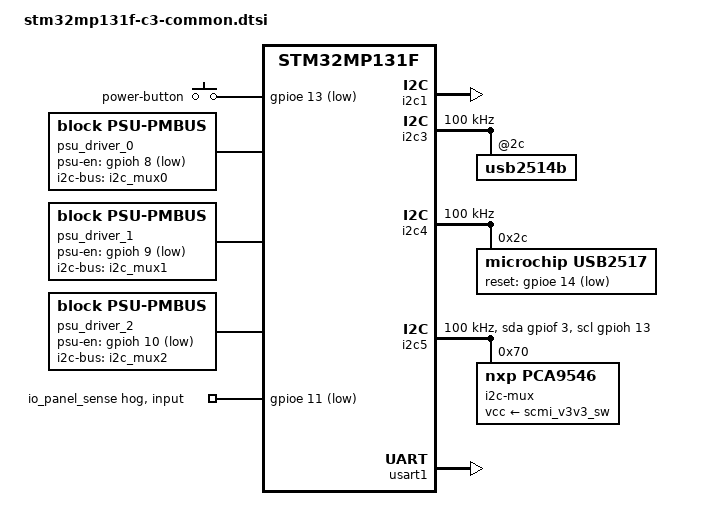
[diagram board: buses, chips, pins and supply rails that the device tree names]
/* SPDX-License-Identifier: (GPL-2.0+ OR BSD-3-Clause) */
/*
* Copyright (C) STMicroelectronics 2024 - All Rights Reserved
* Author: STM32CubeMX code generation for STMicroelectronics.
*/

/dts-v1/;
#include "stm32mp131f-cx.dtsi"
#include "stm32mp131f-c3-pinctrl.dtsi"
#include "stm32mp131f-cx-thermal-sensor.dtsi"

/ {
    config {
        u-boot,io-rgb-fdt = "stm32mp131f-c3p1-io-rgb.dtb";
    };

    aliases {
        ethernet0 = &eth1;
        serial0 = &uart4;
        serial1 = &usart1;
        serial2 = &uart8;
        serial3 = &usart2;
        i2c1 = &i2c1;   /* IO Panel I2C */
        i2c2 = &i2c2;   /* PMIC I2C */
        i2c3 = &i2c3;   /* USB 4-Port Hub I2C */
        i2c4 = &i2c4;   /* USB 7-Port Hub I2C */
        i2c5 = &i2c5;   /* PSU I2C MUX */
        spi5 = &spi5;   /* IO Panel LED Driver SPI */
    };

    power-button {
        status = "okay";
        compatible = "gpio-keys";
        #address-cells = <1>;
        #size-cells = <0>;
        autorepeat;

        power-button {
            label = "power-button";
            linux,code = <KEY_POWER>;
            gpios = <&gpioe 13 GPIO_ACTIVE_LOW>;
            interrupt-parent = <&gpioe>;
            interrupts = <13 IRQ_TYPE_EDGE_FALLING>;
        };
    };

    factory-reset-button {
        status = "disabled";
    };

    config {
        proto,io_board_id = <&gpiog 11 GPIO_PULL_DOWN>;
    };

    psu_driver_0: psu-pmbus-0 {
        compatible = "block,psu-pmbus";
        // Maps to physical slot / bay 1
        psu-id = <1>;
        status = "okay";
        i2c-bus = <&i2c_mux0>;
        probe-addresses = /bits/ 8 <0x08 0x10 0x58>;
        initial-voltage-mv = <15500>;
        update-interval-ms = <1000>;
        status-check-interval-ms = <250>;
        disconnect-threshold = <5>;
        reconnect-poll-interval-ms = <5000>;
        psu-en-gpio = <&gpioh 8 GPIO_ACTIVE_LOW>;
    };

    psu_driver_1: psu-pmbus-1 {
        compatible = "block,psu-pmbus";
        // Maps to physical slot / bay 2
        psu-id = <2>;
        status = "okay";
        i2c-bus = <&i2c_mux1>;
        probe-addresses = /bits/ 8 <0x08 0x10 0x58>;
        initial-voltage-mv = <15500>;
        update-interval-ms = <1000>;
        status-check-interval-ms = <250>;
        disconnect-threshold = <5>;
        reconnect-poll-interval-ms = <5000>;
        psu-en-gpio = <&gpioh 9 GPIO_ACTIVE_LOW>;
    };

    psu_driver_2: psu-pmbus-2 {
        compatible = "block,psu-pmbus";
        // Maps to physical slot / bay 3
        psu-id = <3>;
        status = "okay";
        i2c-bus = <&i2c_mux2>;
        probe-addresses = /bits/ 8 <0x08 0x10 0x58>;
        initial-voltage-mv = <15500>;
        update-interval-ms = <1000>;
        status-check-interval-ms = <250>;
        disconnect-threshold = <5>;
        reconnect-poll-interval-ms = <5000>;
        psu-en-gpio = <&gpioh 10 GPIO_ACTIVE_LOW>;
    };
};

&eth1 {
    max-speed = <100>;
};

&gpioe {
    hog_e11: gpio-hog-e11 {
        gpio-hog;
        gpios = <11 GPIO_ACTIVE_LOW>;
        input;
        line-name = "io_panel_sense";
        bias-pull-down;
    };
};

/* Board-specific I2C configurations */

/* PSU_EN_N - PSU enable */
/* Enable the below when bringup is completed. EE will need to manually toggle these pins */
/*
&gpioh {
    hog_h8: gpio-hog-h8 {
        gpio-hog;
        gpios = <8 GPIO_ACTIVE_LOW>;
        output-high;
        line-name = "psu1_en_n";
    };

    hog_h9: gpio-hog-h9 {
        gpio-hog;
        gpios = <9 GPIO_ACTIVE_LOW>;
        output-high;
        line-name = "psu2_en_n";
    };

    hog_h10: gpio-hog-h10 {
        gpio-hog;
        gpios = <10 GPIO_ACTIVE_LOW>;
        output-high;
        line-name = "psu3_en_n";
    };
};
*/

/* IO Panel I2C */
&i2c1 {
    pinctrl-names = "default", "sleep";
    pinctrl-0 = <&i2c1_pins_mx>;
    pinctrl-1 = <&i2c1_sleep_pins_mx>;
    status = "okay";
};

/* USB 4-Port Hub I2C - Override product name and serial only */
&i2c3 {
    pinctrl-names = "default", "sleep";
    pinctrl-0 = <&i2c3_pins_mx>;
    pinctrl-1 = <&i2c3_sleep_pins_mx>;
    status = "okay";
    clock-frequency = <100000>;

    usb2514b@2c {
        product = "C3";
        serial = "1234567890A";
    };
};

/* USB 7-Port Hub I2C */
&i2c4 {
    pinctrl-names = "default", "sleep";
    pinctrl-0 = <&i2c4_pins_mx>;
    pinctrl-1 = <&i2c4_sleep_pins_mx>;
    status = "okay";
    clock-frequency = <100000>;

    usb2517: usb2517@2c {
        compatible = "microchip,usb2517";
        reg = <0x2c>;
        vendor-id = /bits/ 16 <0x0000>;
        product-id = /bits/ 16 <0x0000>;
        string-support;
        manufacturer = "Block Inc";
        product = "C3";
        reset-gpios = <&gpioe 14 GPIO_ACTIVE_LOW>; /* USB7_RST_N */
        /* Power supplied by always-on LDO1_3V3 from STPMIC1 */
        sp-disabled-ports = <7>; /* Self-powered port disable - 0b01000000 (bit 6 for port 7) */
        bp-disabled-ports = <7>; /* Bus-powered port disable - 0b01000000 (bit 6 for port 7) */
    };
};

/* PSU I2C5 */
&i2c5 {
    pinctrl-names = "default", "sleep", "gpio";
    pinctrl-0 = <&i2c5_pins_mx>;
    pinctrl-1 = <&i2c5_sleep_pins_mx>;
    pinctrl-2 = <&i2c5_pins_gpio>;  /* GPIO mode for bus recovery */
    status = "okay";
        clock-frequency = <100000>;

    /* GPIO-based bus recovery - allows driver to toggle SCL/SDA as GPIOs to recover stuck bus */
    scl-gpios = <&gpioh 13 (GPIO_ACTIVE_HIGH | GPIO_OPEN_DRAIN)>;
    sda-gpios = <&gpiof 3 (GPIO_ACTIVE_HIGH | GPIO_OPEN_DRAIN)>;

    i2c-mux@70 {
        compatible = "nxp,pca9546";
        /* The I2C Address is (0x70 + (A2<<4) + (A1<<2) + (A0<<1)), where A2, A1 and A0 are 1/0 */
        /* On this board, the I2C address is 0x70, where A1, A2, A0 are all tied to ground */
        reg = <0x70>;
        #address-cells = <1>;
        #size-cells = <0>;
        vcc-supply = <&scmi_v3v3_sw>;    // Add this line, assuming v3v3_sw is your 3.3V rail
        status = "okay";

        i2c_mux0: i2c@0 {
            #address-cells = <1>;
            #size-cells = <0>;
            reg = <0>;
            label = "i2c_mux0";     /* This will show up as /dev/i2c-mux0 */
        };

        i2c_mux1: i2c@1 {
            #address-cells = <1>;
            #size-cells = <0>;
            reg = <1>;
            label = "i2c_mux1";     /* This will show up as /dev/i2c-mux1 */
        };

        i2c_mux2: i2c@2 {
            #address-cells = <1>;
            #size-cells = <0>;
            reg = <2>;
            label = "i2c_mux2";     /* This will show up as /dev/i2c-mux2 */
        };
    };
};

/* IO Panel UART1 */
&usart1 {
    pinctrl-names = "default", "sleep";
    pinctrl-0 = <&uart1_pins_mx>;
    pinctrl-1 = <&uart1_sleep_pins_mx>;
    status = "okay";
};
